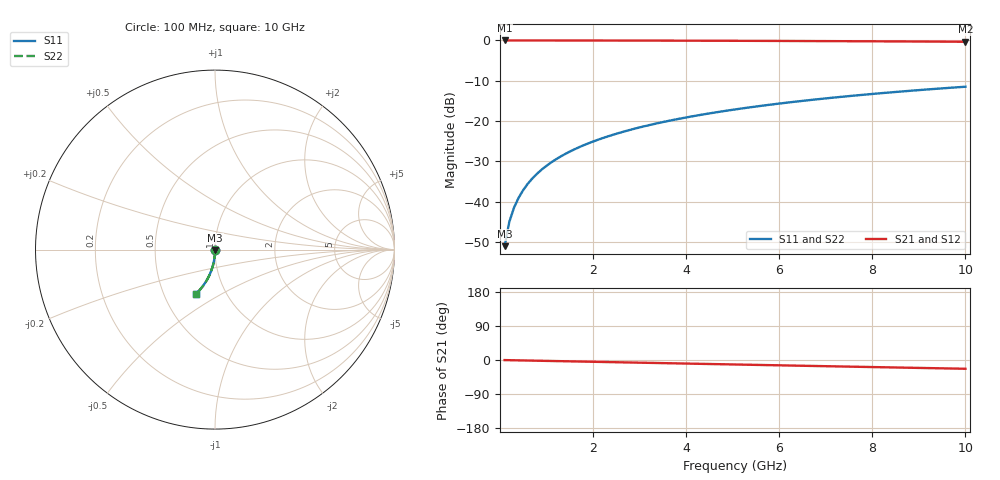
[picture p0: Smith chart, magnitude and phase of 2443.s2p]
# Hz S RI R 50.00
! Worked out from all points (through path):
!   100 points, 100 MHz to 10 GHz, reference 50 ohm
!   highest |S21| = 0.00 dB at 100 MHz (marker M1); lowest = -0.3 dB at 10 GHz (marker M2)
!   group delay of S21, straight-line fit = 6.43 ps
!   lowest |S11| = -51.1 dB at 100 MHz (marker M3), VSWR 1.01, Z = 50 - j0.279 ohm
!   |S11| at or under -10 dB: start of sweep to end of sweep
!   |S22| runs from -51.1 to -11.5 dB; largest |S21 - S12| = 0
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1e8  0.000267 -0.00279  0.9997 -0.0041  0.9997 -0.0041  0.000267 -0.00279
2e8  0.000232 -0.00557  0.9997 -0.00821  0.9997 -0.00821  0.000232 -0.00557
3e8  0.000173 -0.00836  0.9996 -0.0123  0.9996 -0.0123  0.000173 -0.00836
4e8  9.03e-05 -0.0111  0.9995 -0.0164  0.9995 -0.0164  9.03e-05 -0.0111
5e8  -1.5e-05 -0.0139  0.9994 -0.0205  0.9994 -0.0205  -1.5e-05 -0.0139
6e8  -0.000143 -0.0167  0.9992 -0.0246  0.9992 -0.0246  -0.000143 -0.0167
7e8  -0.000294 -0.0195  0.9991 -0.0287  0.9991 -0.0287  -0.000294 -0.0195
8e8  -0.000468 -0.0223  0.9989 -0.0328  0.9989 -0.0328  -0.000468 -0.0223
9e8  -0.000665 -0.0251  0.9987 -0.0369  0.9987 -0.0369  -0.000665 -0.0251
1.1e9  -0.00113 -0.0306  0.9982 -0.0451  0.9982 -0.0451  -0.00113 -0.0306
1.4e9  -0.00199 -0.0389  0.9972 -0.0574  0.9972 -0.0574  -0.00199 -0.0389
1.8e9  -0.00346 -0.05  0.9957 -0.0737  0.9957 -0.0737  -0.00346 -0.05
2.1e9  -0.0048 -0.0582  0.9942 -0.0859  0.9942 -0.0859  -0.0048 -0.0582
2.5e9  -0.0069 -0.0691  0.992 -0.1021  0.992 -0.1021  -0.0069 -0.0691
2.9e9  -0.00936 -0.08  0.9893 -0.1183  0.9893 -0.1183  -0.00936 -0.08
3.4e9  -0.0129 -0.0934  0.9855 -0.1383  0.9855 -0.1383  -0.0129 -0.0934
4.2e9  -0.0197 -0.1145  0.9781 -0.17  0.9781 -0.17  -0.0197 -0.1145
5.1e9  -0.029 -0.1376  0.9681 -0.205  0.9681 -0.205  -0.029 -0.1376
5.9e9  -0.0385 -0.1573  0.9578 -0.2354  0.9578 -0.2354  -0.0385 -0.1573
6.7e9  -0.0493 -0.1763  0.9461 -0.2651  0.9461 -0.2651  -0.0493 -0.1763
8.4e9  -0.0758 -0.2139  0.9173 -0.3254  0.9173 -0.3254  -0.0758 -0.2139
1e10  -0.1046 -0.2451  0.8858 -0.3782  0.8858 -0.3782  -0.1046 -0.2451
